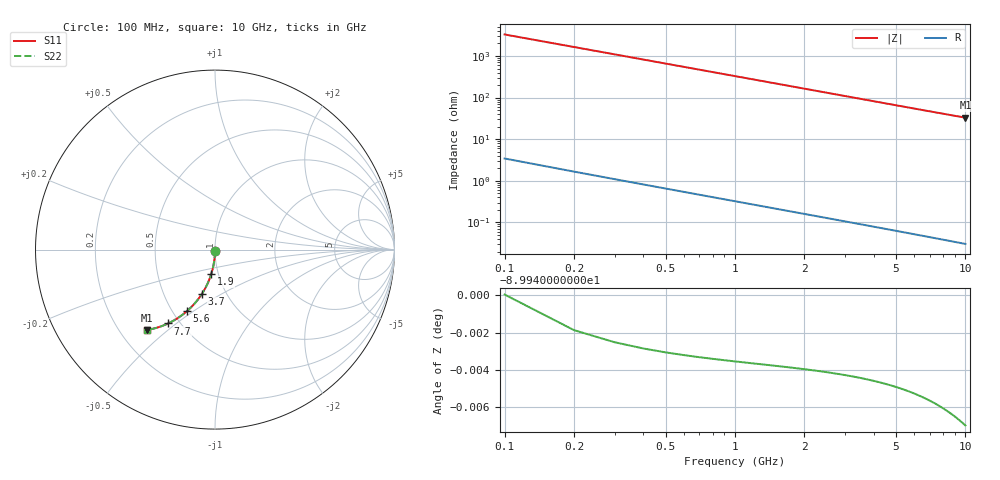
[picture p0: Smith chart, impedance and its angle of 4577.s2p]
# Hz S RI R 50.00
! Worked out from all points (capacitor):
!   100 points, 100 MHz to 10 GHz, reference 50 ohm
!   read as one part in shunt: C = 484 fF near 100 MHz
!   lowest |Z| = 33 ohm at 10 GHz (marker M1)
!   S11 on the Smith chart (normalised r, x): 100 MHz: 1.00, -0.01; 1.9 GHz: 0.93, -0.26; 3.7 GHz: 0.77, -0.41; 5.6 GHz: 0.59, -0.47; 7.7 GHz: 0.43, -0.47; 10 GHz: 0.31, -0.43
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1e8  4.6e-06 -0.00725  0.9999 -0.00796  0.9999 -0.00796  4.6e-06 -0.00725
2e8  -0.000176 -0.0145  0.9997 -0.0159  0.9997 -0.0159  -0.000176 -0.0145
3e8  -0.000471 -0.0217  0.9994 -0.0239  0.9994 -0.0239  -0.000471 -0.0217
4e8  -0.000882 -0.029  0.999 -0.0318  0.999 -0.0318  -0.000882 -0.029
5e8  -0.00141 -0.0362  0.9984 -0.0398  0.9984 -0.0398  -0.00141 -0.0362
6e8  -0.00205 -0.0434  0.9978 -0.0477  0.9978 -0.0477  -0.00205 -0.0434
8e8  -0.00368 -0.0578  0.9962 -0.0635  0.9962 -0.0635  -0.00368 -0.0578
1.1e9  -0.00696 -0.0793  0.9929 -0.0871  0.9929 -0.0871  -0.00696 -0.0793
1.4e9  -0.0113 -0.1005  0.9885 -0.1105  0.9885 -0.1105  -0.0113 -0.1005
1.8e9  -0.0185 -0.1283  0.9813 -0.1411  0.9813 -0.1411  -0.0185 -0.1283
1.9e9  -0.0206 -0.1352  0.9792 -0.1487  0.9792 -0.1487  -0.0206 -0.1352
2.2e9  -0.0275 -0.1554  0.9723 -0.1712  0.9723 -0.1712  -0.0275 -0.1554
2.6e9  -0.038 -0.1818  0.9617 -0.2004  0.9617 -0.2004  -0.038 -0.1818
3.4e9  -0.0635 -0.2315  0.9361 -0.2559  0.9361 -0.2559  -0.0635 -0.2315
3.7e9  -0.0744 -0.249  0.9251 -0.2756  0.9251 -0.2756  -0.0744 -0.249
4.4e9  -0.1024 -0.2872  0.897 -0.3189  0.897 -0.3189  -0.1024 -0.2872
5.1e9  -0.1333 -0.3214  0.8659 -0.3583  0.8659 -0.3583  -0.1333 -0.3214
5.6e9  -0.1567 -0.3432  0.8423 -0.3838  0.8423 -0.3838  -0.1567 -0.3432
6.7e9  -0.2111 -0.3837  0.7876 -0.4324  0.7876 -0.4324  -0.2111 -0.3837
7.7e9  -0.2621 -0.4116  0.7361 -0.4679  0.7361 -0.4679  -0.2621 -0.4116
8.4e9  -0.2979 -0.4264  0.7001 -0.4881  0.7001 -0.4881  -0.2979 -0.4264
1e10  -0.3773 -0.4476  0.6198 -0.5216  0.6198 -0.5216  -0.3773 -0.4476
